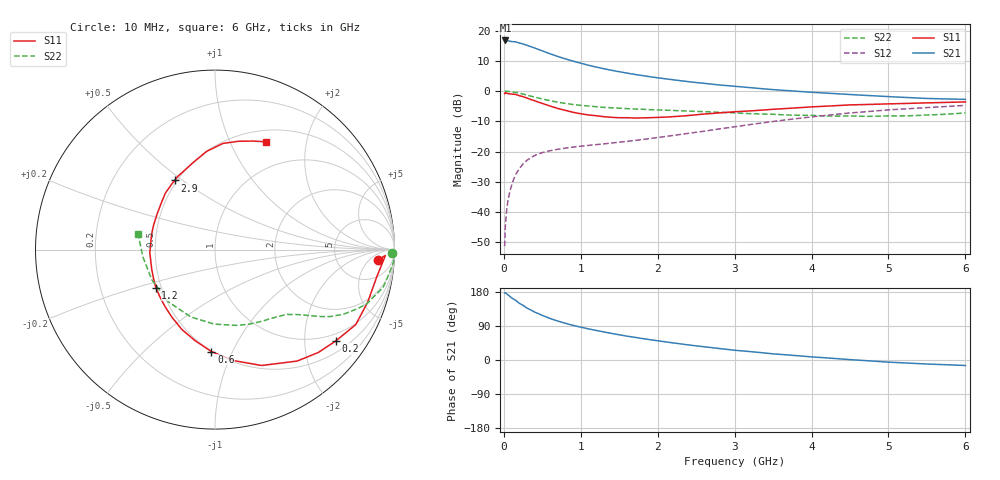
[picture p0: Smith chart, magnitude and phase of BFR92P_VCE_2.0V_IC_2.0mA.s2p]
! Infineon Technologies  Discrete & RF Semiconductors
! BFR92P
! VCE =  2.0 V,  IC =  2.0 mA
! Common Emitter S-Parameters:  Apr 2014
# GHz  S  MA  R  50
!  f  S11  S21  S12  S22
! GHz  MAG  ANG  MAG  ANG  MAG  ANG  MAG  ANG
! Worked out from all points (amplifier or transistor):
!   77 points, 10 MHz to 6 GHz, reference 50 ohm
!   highest |S21| = 16.8 dB at 20 MHz (marker M1)
!   |S21| within 3 dB of that: start of sweep to 451.9 MHz
!   unconditionally stable (mu >= 1): 1.37 GHz to 3.214 GHz
!   at 130 MHz: K = 0.12, MSG = 22.7 dB, |S12| = -29.0 dB
!   at 2.2 GHz: K = 1.12, MAG = 7.1 dB, |S12| = -14.7 dB
!   at 6 GHz: K = 0.91, MSG = 1.0 dB, |S12| = -4.7 dB
!   S11 on the Smith chart (normalised r, x): 10 MHz: 15, -10; 200 MHz: 0.79, -2.78; 600 MHz: 0.50, -0.83; 1.2 GHz: 0.47, -0.23; 2.9 GHz: 0.49, +0.47; 6 GHz: 0.64, +1.38
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0.01  0.9112 -3.5  6.762 177.2  0.0027 89.9  0.9849 -1.1
0.02  0.9498 -2.0  6.938 177.1  0.0058 84.3  1 -1.7
0.04  0.924 -7.0  6.894 174.1  0.0115 84.3  0.997 -3.4
0.08  0.9025 -15.2  6.727 167.6  0.022 80.1  0.9833 -6.9
0.1  0.8998 -19.0  6.656 164.1  0.0272 78.6  0.9762 -8.6
0.15  0.8885 -28.1  6.595 157.9  0.0409 74.4  0.96 -12.7
0.2  0.8437 -37.1  6.31 149.8  0.0517 69.2  0.9261 -16.2
0.3  0.7715 -53.6  5.784 137.1  0.0715 61.3  0.861 -22.4
0.4  0.6958 -68.1  5.21 126.5  0.086 55.3  0.7985 -26.9
0.5  0.6277 -80.3  4.664 117.6  0.0962 51.1  0.7434 -30.1
0.6  0.5684 -92.0  4.177 109.7  0.1031 48.0  0.696 -32.4
0.8  0.4812 -112.7  3.433 96.9  0.1139 44.1  0.6275 -35.7
0.9  0.4475 -122.2  3.154 91.4  0.1186 43.5  0.6021 -37.1
1.1  0.4047 -139.2  2.695 82.2  0.1263 43.3  0.5681 -39.5
1.2  0.3921 -147.3  2.515 78.0  0.1302 43.4  0.5538 -40.8
1.6  0.3638 -177.3  1.996 63.0  0.1473 46.0  0.5144 -46.2
2.1  0.3719 153.4  1.605 48.0  0.1776 49.6  0.4839 -54.3
2.9  0.4462 120.3  1.238 28.1  0.2469 50.8  0.4424 -71.9
3.1  0.4636 114.3  1.177 24.0  0.2683 49.7  0.4308 -77.6
4.1  0.5576 92.8  0.944 6.9  0.3869 41.2  0.3923 -114.1
5.1  0.6211 76.4  0.802 -6.6  0.4985 27.2  0.3891 -158.5
6  0.6653 64.5  0.732 -14.5  0.5819 13.8  0.4369 168.7
